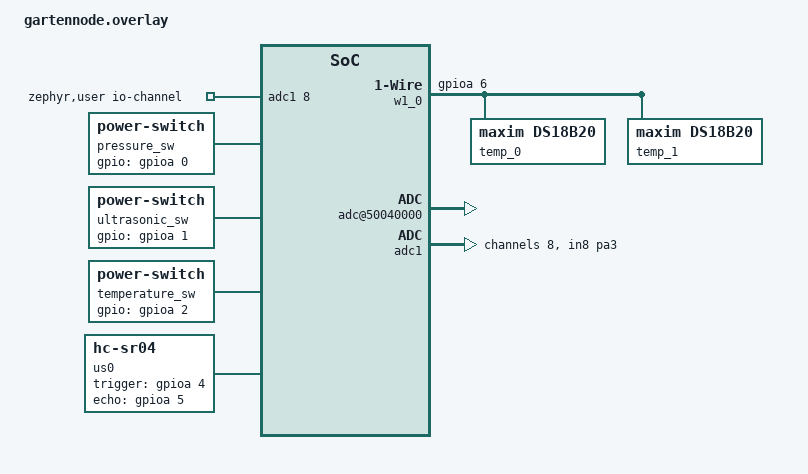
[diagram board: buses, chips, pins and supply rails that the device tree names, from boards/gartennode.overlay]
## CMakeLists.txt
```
cmake_minimum_required(VERSION 3.20.0)

list(APPEND BOARD_ROOT ${CMAKE_CURRENT_SOURCE_DIR})

macro(app_set_runner_args)
  board_runner_args(canopen "--node-id=${CONFIG_CANOPEN_NODE_ID}")
endmacro()

find_package(Zephyr REQUIRED HINTS $ENV{ZEPHYR_BASE})
project(gartennode_zysterne)
FILE(GLOB app_sources src/*.c)
if(NOT CONFIG_BOARD_NATIVE_SIM)
  list(FILTER app_sources EXCLUDE REGEX "/native_sim_ds18b20\\.c$")
endif()
target_sources(app PRIVATE ${app_sources} objdict/CO_OD.c)
zephyr_include_directories(objdict src)
```

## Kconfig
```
#
# Copyright (c) 2019 Vestas Wind Systems A/S
#
# SPDX-License-Identifier: Apache-2.0
#

config CANOPEN_NODE_ID
	int "CANopen node ID"
	default 10
	range 1 127
	help
	  7-bit CANopen Node ID

config CISTERN_UPDATE_DIAGNOSTICS
	bool "Record CANopen update timing and reset causes"
	depends on CANOPENNODE_PROGRAM_DOWNLOAD && SOC_FAMILY_STM32
	select HWINFO
	select LOG_RUNTIME_FILTERING
	help
	  Record download progress and callback latency without changing the
	  flash operation. Suppress missing-sensor logs to preserve diagnostic
	  buffer space. Intended for hardware update regression tests.

# Match the installed Gartennode MCUboot, not Zephyr's newer offset-swap default.
# Defaults (rather than prj.conf assignments) also leave native_sim unaffected.
choice MCUBOOT_BOOTLOADER_MODE
	default MCUBOOT_BOOTLOADER_MODE_SWAP_SCRATCH if BOARD_GARTENNODE && BOOTLOADER_MCUBOOT
endchoice

config MCUBOOT_IMGTOOL_SIGN_VERSION
	default "0.1.0" if BOARD_GARTENNODE && BOOTLOADER_MCUBOOT

config MCUBOOT_EXTRA_IMGTOOL_ARGS
	default "--pad" if BOARD_GARTENNODE && BOOTLOADER_MCUBOOT

source "Kconfig.zephyr"
```

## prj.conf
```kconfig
# Print a banner on the UART on startup.
CONFIG_BOOT_BANNER=y

CONFIG_LOG=y
CONFIG_LOG_BACKEND_UART=y
CONFIG_CANOPENNODE_LOG_LEVEL_DBG=y
CONFIG_MULTITHREADING=y

CONFIG_GPIO=y
CONFIG_ADC=y
CONFIG_SENSOR=y
CONFIG_W1=y
CONFIG_HC_SR04=y

CONFIG_CAN=y
#CONFIG_CAN_MAX_FILTER=13

CONFIG_MAIN_STACK_SIZE=2048

CONFIG_CANOPENNODE=y
CONFIG_CANOPENNODE_SYNC_THREAD=y
CONFIG_CANOPENNODE_STORAGE=y
CONFIG_CANOPENNODE_LEDS=y
CONFIG_CANOPENNODE_PROGRAM_DOWNLOAD=y
CONFIG_CANOPEN_NODE_ID=12

CONFIG_LOG_PRINTK=y
CONFIG_REBOOT=y
CONFIG_UART_CONSOLE=y
CONFIG_SERIAL=y
CONFIG_CONSOLE=y
# Enable Zephyr application to be booted by MCUboot
CONFIG_BOOTLOADER_MCUBOOT=y

# CANopen PROGRAM_CTRL_CLEAR erases the complete secondary slot before download.
# Do not erase sectors again while handling SDO data.
CONFIG_IMG_ERASE_PROGRESSIVELY=n
CONFIG_STREAM_FLASH_ERASE=n

# Use the default MCUBoot PEM key file (BOOT_SIGNATURE_KEY_FILE)
CONFIG_MCUBOOT_SIGNATURE_KEY_FILE="bootloader/mcuboot/gartennode.pem"
```

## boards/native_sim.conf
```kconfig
CONFIG_BOOTLOADER_MCUBOOT=n
CONFIG_CANOPENNODE_PROGRAM_DOWNLOAD=n
CONFIG_MCUBOOT_SIGNATURE_KEY_FILE=""
CONFIG_CAN=y
CONFIG_CAN_NATIVE_UDP=y
# Keep the CANopen loop ahead of the UDP RX worker after a wakeup.
CONFIG_CAN_NATIVE_UDP_RX_THREAD_PRIORITY=1
CONFIG_CANOPENNODE_STORAGE=n
CONFIG_FLASH=n
CONFIG_FLASH_PAGE_LAYOUT=n
CONFIG_FLASH_MAP=n
CONFIG_NVS=n
CONFIG_WATCHDOG=n
CONFIG_HC_SR04=n
CONFIG_ADC=y
CONFIG_ADC_EMUL=y
CONFIG_SENSOR=y
CONFIG_EMUL=y
CONFIG_UART_EMUL=y
CONFIG_CANOPENNODE_SYNC_THREAD=n
```

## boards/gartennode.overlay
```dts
/*
 * Copyright (c) 2022 Google LLC.
 *
 * SPDX-License-Identifier: Apache-2.0
 */

/ {
	zephyr,user {
		io-channels = <&adc1 8>;
	};

	pressure_sw: pressure_sw {
		compatible = "power-switch";
		/* using built-in LED pin for demonstration */
		gpios = <&gpioa 0 (GPIO_PULL_DOWN | GPIO_ACTIVE_HIGH)>;
        status = "okay";
	};

	ultrasonic_sw: ultrasonic_sw {
		compatible = "power-switch";
		/* using built-in LED pin for demonstration */
		gpios = <&gpioa 1 (GPIO_PULL_DOWN | GPIO_ACTIVE_HIGH)>;
        status = "okay";
	};

	temperature_sw: temperature_sw {
		compatible = "power-switch";
		/* using built-in LED pin for demonstration */
		gpios = <&gpioa 2 (GPIO_PULL_DOWN | GPIO_ACTIVE_HIGH)>;
        status = "okay";
	};

	aliases {
		green-led = &green_led;
	};
    us0: HC-SR04 {
        compatible = "hc-sr04";
        trigger-gpios = <&gpioa 4 GPIO_ACTIVE_HIGH>;
        echo-gpios = <&gpioa 5 (GPIO_PULL_DOWN | GPIO_ACTIVE_HIGH)>;
        status = "okay";
    };
	w1_0: w1-zephyr-gpio-0 {
		compatible = "zephyr,w1-gpio";
		gpios = <&gpioa 6 (GPIO_ACTIVE_HIGH|GPIO_OPEN_DRAIN|GPIO_PULL_UP)>;
		status = "okay";

		temp_0: ds18b200 {
			compatible = "maxim,ds18b20";
			family-code = <0x28>;
			resolution = <12>;
			status = "okay";
		};
		temp_1: ds18b201 {
			compatible = "maxim,ds18b20";
			family-code = <0x28>;
			resolution = <12>;
			status = "okay";
		};
	};
};

/*
 * The ADC clock belongs to the common controller in Zephyr 4.5.
 * This path also selects adc1 itself with the flat layout in Zephyr 4.4.
 */
&{/soc/adc@50040000} {
	st,adc-clock-source = "SYNC";
	st,adc-prescaler = <4>;
	status = "okay";
};

&adc1 {
	#address-cells = <1>;
	#size-cells = <0>;

	/* pinctrl-0 = <&adc1_in5_pa0 &adc1_in6_pa1 &adc1_in7_pa2 &adc1_in8_pa3 &adc1_in9_pa4 &adc1_in10_pa5 &adc1_in11_pa6 &adc1_in12_pa7>; */
	pinctrl-0 = <&adc1_in8_pa3>;
	pinctrl-names = "default";
	status = "okay";

	channel@8 {
		reg = <8>;
		zephyr,gain = "ADC_GAIN_1";
		zephyr,reference = "ADC_REF_INTERNAL";
		zephyr,acquisition-time = <ADC_ACQ_TIME_DEFAULT>;
		zephyr,resolution = <12>;
	};
};
```

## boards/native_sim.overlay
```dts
/ {
	chosen {
		zephyr,canbus = &can_udp0;
	};

	zephyr,user {
		io-channels = <&adc0 0>;
	};

	can_udp0: udp-can {
		compatible = "zephyr,native-linux-udp-can";
		host = "127.0.0.1";
		port = <46100>;
		local-port = <46111>;
		status = "okay";
	};

	pressure_sw: pressure-switch {
		compatible = "power-switch";
		gpios = <&gpio0 0 GPIO_ACTIVE_HIGH>;
		status = "okay";
	};
	ultrasonic_sw: ultrasonic-switch {
		compatible = "power-switch";
		gpios = <&gpio0 1 GPIO_ACTIVE_HIGH>;
		status = "okay";
	};
	temperature_sw: temperature-switch {
		compatible = "power-switch";
		gpios = <&gpio0 2 GPIO_ACTIVE_HIGH>;
		status = "okay";
	};

	/* Native-sim DS18B20 devices speak W1 through the UART emulator. */
	us0: simulated-ultrasonic {
		status = "okay";
	};

	uart_emul: uart-emul {
		compatible = "zephyr,uart-emul";
		current-speed = <115200>;
		rx-fifo-size = <128>;
		tx-fifo-size = <128>;
		status = "okay";

		w1_0: w1-bus {
			compatible = "zephyr,w1-serial";
			status = "okay";

			temp_0: ds18b200 {
				compatible = "maxim,ds18b20";
				family-code = <0x28>;
				resolution = <12>;
				status = "okay";
			};
			temp_1: ds18b201 {
				compatible = "maxim,ds18b20";
				family-code = <0x28>;
				resolution = <12>;
				status = "okay";
			};
		};
	};
};

&adc0 {
	ref-internal-mv = <3300>;
	#address-cells = <1>;
	#size-cells = <0>;

	channel@0 {
		reg = <0>;
		zephyr,gain = "ADC_GAIN_1";
		zephyr,reference = "ADC_REF_INTERNAL";
		zephyr,acquisition-time = <ADC_ACQ_TIME_DEFAULT>;
		zephyr,resolution = <12>;
	};
};

&gpio0 {
	status = "okay";
};
```

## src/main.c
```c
/*
 * Copyright (c) 2019 Vestas Wind Systems A/S
 *
 * SPDX-License-Identifier: Apache-2.0
 */

#if defined(CONFIG_BOARD_NATIVE_SIM)
#define _POSIX_C_SOURCE 200809L
#include <time.h>
#endif

#include <zephyr/kernel.h>
#include <zephyr/drivers/can.h>
#include <zephyr/sys/reboot.h>
#include <zephyr/settings/settings.h>
#include <zephyr/storage/flash_map.h>
#include <canopennode.h>
#include <string.h>

#include "led.h"
#include "sensor.h"
#include "update_control.h"
#include "update_diagnostics.h"
#if defined(CONFIG_BOARD_NATIVE_SIM)
#include "native_sim_cistern.h"
#endif

#define LOG_LEVEL CONFIG_CANOPENNODE_LOG_LEVEL
#include <zephyr/logging/log.h>
LOG_MODULE_REGISTER(app);

#define CAN_INTERFACE DEVICE_DT_GET(DT_CHOSEN(zephyr_canbus))
#define CAN_BITRATE (DT_PROP_OR(DT_CHOSEN(zephyr_canbus), bitrate, \
					  DT_PROP_OR(DT_CHOSEN(zephyr_canbus), bus_speed, \
						     CONFIG_CAN_DEFAULT_BITRATE)) / 1000)

#if defined(CONFIG_BOARD_NATIVE_SIM)
K_SEM_DEFINE(native_sim_can_rx_wakeup, 0, 1);

static int64_t native_sim_monotonic_ms(void)
{
	struct timespec now;

	clock_gettime(CLOCK_MONOTONIC, &now);
	return (int64_t)now.tv_sec * 1000 + now.tv_nsec / 1000000;
}

static void native_sim_can_bus_activity(const struct device *dev,
					struct can_frame *frame, void *user_data)
{
	ARG_UNUSED(dev);
	ARG_UNUSED(frame);
	ARG_UNUSED(user_data);
	k_sem_give(&native_sim_can_rx_wakeup);
}
#endif

static void initialize(void)
{
	if (led_init() != 0) {
		LOG_ERR("LED initialization failed");
	}
	if (sensor_init() != 0) {
		LOG_ERR("Sensor initialization failed");
	}
}

static CO_SDO_abortCode_t set_sensor_enable(CO_ODF_arg_t *arg,
					   int (*enable)(uint8_t))
{
	if (arg->reading) {
		return CO_SDO_AB_NONE;
	}
	if (arg->data == NULL) {
		return CO_SDO_AB_GENERAL;
	}
	return enable(*arg->data) == 0 ? CO_SDO_AB_NONE : CO_SDO_AB_GENERAL;
}

static CO_SDO_abortCode_t odf_2102(CO_ODF_arg_t *arg)
{
	return set_sensor_enable(arg, pressure_enable);
}

static CO_SDO_abortCode_t odf_2110(CO_ODF_arg_t *arg)
{
	return set_sensor_enable(arg, ultrasonic_enable);
}

static CO_SDO_abortCode_t odf_2115(CO_ODF_arg_t *arg)
{
	return set_sensor_enable(arg, temperature_enable);
}

/**
 * @brief Initialize CANopen and perform non-real-time application processing.
 */
int main(void)
{
	CO_NMT_reset_cmd_t reset = CO_RESET_NOT;
	CO_ReturnError_t err;
	struct canopen_context can;
	uint16_t timeout;
	uint32_t elapsed;
	int64_t timestamp;
#ifdef CONFIG_CANOPENNODE_STORAGE
	int ret;
#endif

	can.dev = CAN_INTERFACE;
	if (!device_is_ready(can.dev)) {
		LOG_ERR("CAN interface not ready");
		return 0;
	}
#if defined(CONFIG_BOARD_NATIVE_SIM)
	native_sim_cistern_start();
#endif

#ifdef CONFIG_CANOPENNODE_STORAGE
	LOG_INF("Initializing settings subsystem");
	ret = settings_subsys_init();
	if (ret) {
		const struct flash_area *storage = NULL;
		int error;

		LOG_ERR("failed to initialize settings subsystem (err = %d)", ret);
		error = flash_area_open(PARTITION_ID(storage_partition), &storage);
		if (error < 0) {
			return error;
		}
		error = flash_area_erase(storage, 0, PARTITION_SIZE(storage_partition));
		flash_area_close(storage);
		if (error < 0) {
			return error;
		}
		sys_reboot(SYS_REBOOT_COLD);
	}
	ret = settings_load();
	if (ret) {
		LOG_ERR("failed to load settings (err = %d)", ret);
		return 0;
	}
#endif

	OD_powerOnCounter++;

	while (reset != CO_RESET_APP) {
		elapsed = 0U;

		LOG_INF("CANopen stack initialize");
		err = CO_init(&can, CONFIG_CANOPEN_NODE_ID, CAN_BITRATE);
		if (err != CO_ERROR_NO) {
			LOG_ERR("CO_init failed (err = %d)", err);
			return 0;
		}
		LOG_INF("CANopen stack initialized");
#ifdef CONFIG_CANOPENNODE_STORAGE
		canopen_storage_attach(CO->SDO[0], CO->em);
#endif

		initialize();
		led_configure(CO->NMT);
		CO_OD_configure(CO->SDO[0], OD_2102_pressureEnable,
				odf_2102, NULL, 0U, 0U);
		CO_OD_configure(CO->SDO[0], OD_2110_ultrasonicEnable,
				odf_2110, NULL, 0U, 0U);
		CO_OD_configure(CO->SDO[0], OD_2115_temperatureEnable,
				odf_2115, NULL, 0U, 0U);

		if (IS_ENABLED(CONFIG_CANOPENNODE_PROGRAM_DOWNLOAD)) {
			canopen_program_download_attach(CO->NMT, CO->SDO[0], CO->em);
			cistern_update_control_attach(CO->SDO[0]);
#if defined(CONFIG_CISTERN_UPDATE_DIAGNOSTICS)
			cistern_update_diagnostics_attach(CO->SDO[0]);
#endif
		}

#if defined(CONFIG_BOARD_NATIVE_SIM)
		/* Exercise pressure acquisition and TPDOs with the ADC emulator. */
		OD_pressureEnable = 1U;
#endif
		pressure_enable(OD_pressureEnable);
		ultrasonic_enable(OD_ultrasonicEnable);
		temperature_enable(OD_temperatureEnable);
		LOG_INF("Sensor acquisition tasks enabled (pressure=%u, ultrasonic=%u, temperature=%u)",
			OD_pressureEnable, OD_ultrasonicEnable, OD_temperatureEnable);

#if defined(CONFIG_BOARD_NATIVE_SIM)
		const struct can_filter native_sim_wakeup_filter = {
			.id = 0U,
			.mask = 0U,
		};
		int native_sim_wakeup_filter_id =
			can_add_rx_filter(can.dev, native_sim_can_bus_activity, NULL,
					  &native_sim_wakeup_filter);

		if (native_sim_wakeup_filter_id < 0) {
			LOG_ERR("Failed to add native-sim CAN activity filter: %d",
				native_sim_wakeup_filter_id);
		}
#endif
		CO_CANsetNormalMode(CO->CANmodule[0]);
		LOG_INF("CAN interface entered normal mode");
#ifdef CONFIG_CANOPENNODE_STORAGE
		struct sCO_OD_EEPROM eeprom_old = CO_OD_EEPROM;
#endif

		while (true) {
			timeout = 1U;
#if defined(CONFIG_BOARD_NATIVE_SIM)
			timestamp = native_sim_monotonic_ms();
#else
			timestamp = k_uptime_get();
#endif
			reset = CO_process(CO, (uint16_t)elapsed, &timeout);
			if (reset != CO_RESET_NOT) {
				break;
			}
#if defined(CONFIG_BOARD_NATIVE_SIM)
			/*
			 * Process asynchronous PDOs here: native_sim does not reliably
			 * run the CANopenNode timer-driven sync worker.
			 */
			native_sim_cistern_process();
#endif
			sensor_process();
#if defined(CONFIG_BOARD_NATIVE_SIM)
			CO_LOCK_OD();
			CO_process_RPDO(CO, false);
			CO_process_TPDO(CO, false, elapsed * 1000U);
			CO_UNLOCK_OD();
#endif

			if (timeout > 0) {
#ifdef CONFIG_CANOPENNODE_STORAGE
				ret = memcmp(&eeprom_old, &CO_OD_EEPROM, sizeof(CO_OD_EEPROM));
				if (ret != 0) {
					LOG_DBG("EEPROM changed, saving to flash");
					memcpy(&eeprom_old, &CO_OD_EEPROM, sizeof(CO_OD_EEPROM));
					ret = canopen_storage_save(CANOPEN_STORAGE_EEPROM);
					if (ret) {
						LOG_ERR("failed to save EEPROM");
					}
				}
#endif
				/* Sleep for the requested timeout and measure elapsed time. */
#if defined(CONFIG_BOARD_NATIVE_SIM)
				/* Keep stack time advancing despite coarse native clock ticks. */
				uint32_t wait_ms = MAX(timeout, 10U);

				(void)k_sem_take(&native_sim_can_rx_wakeup, K_MSEC(wait_ms));
				elapsed = (uint32_t)(native_sim_monotonic_ms() - timestamp);
				if (elapsed == 0U) {
					elapsed = 1U;
				}
#else
				k_sleep(K_MSEC(timeout));
				elapsed = (uint32_t)k_uptime_delta(&timestamp);
#endif
			} else {
				elapsed = 0U;
#if defined(CONFIG_BOARD_NATIVE_SIM)
				/* Let native UDP-CAN RX and virtual sensor tasks run. */
				k_sleep(K_MSEC(1));
				elapsed = (uint32_t)(native_sim_monotonic_ms() - timestamp);
				if (elapsed == 0U) {
					elapsed = 1U;
				}
#endif
			}
		}

		sensor_stop();
#if defined(CONFIG_BOARD_NATIVE_SIM)
		if (native_sim_wakeup_filter_id >= 0) {
			can_remove_rx_filter(can.dev, native_sim_wakeup_filter_id);
		}
#endif
		if (reset == CO_RESET_COMM) {
			LOG_INF("Resetting communication");
		}
	}

	LOG_INF("Resetting device");
	CO_delete(&can);
	sys_reboot(SYS_REBOOT_COLD);
}
```

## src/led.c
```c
#include <zephyr/drivers/gpio.h>
#include <zephyr/logging/log.h>

#include "led.h"

LOG_MODULE_REGISTER(led, CONFIG_CANOPENNODE_LOG_LEVEL);

static struct gpio_dt_spec led_green_gpio =
	GPIO_DT_SPEC_GET_OR(DT_ALIAS(green_led), gpios, {0});
static struct gpio_dt_spec led_red_gpio =
	GPIO_DT_SPEC_GET_OR(DT_ALIAS(red_led), gpios, {0});

static void led_callback(bool value, void *arg)
{
	struct gpio_dt_spec *gpio = arg;

	if (gpio != NULL && gpio->port != NULL) {
		gpio_pin_set_dt(gpio, value);
	}
}

int led_init(void)
{
	struct gpio_dt_spec *leds[] = {&led_green_gpio, &led_red_gpio};

	for (size_t i = 0; i < ARRAY_SIZE(leds); i++) {
		struct gpio_dt_spec *gpio = leds[i];

		if (gpio->port == NULL) {
			continue;
		}
		if (!gpio_is_ready_dt(gpio)) {
			LOG_ERR("LED GPIO device not ready");
			gpio->port = NULL;
			continue;
		}
		int ret = gpio_pin_configure_dt(gpio, GPIO_OUTPUT_INACTIVE);

		if (ret != 0) {
			LOG_ERR("Failed to configure LED GPIO: %d", ret);
			gpio->port = NULL;
		}
	}
	return 0;
}

void led_configure(CO_NMT_t *nmt)
{
	canopen_leds_init(nmt, led_callback, &led_green_gpio,
			 led_callback, &led_red_gpio);
}
```

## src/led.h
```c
#ifndef LED_H
#define LED_H

#include <canopennode.h>

int led_init(void);
void led_configure(CO_NMT_t *nmt);

#endif /* LED_H */
```

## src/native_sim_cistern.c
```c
#include "native_sim_cistern.h"

#if defined(CONFIG_BOARD_NATIVE_SIM)
#include <errno.h>
#include <math.h>
#include <stdlib.h>
#include <string.h>

#include <zephyr/devicetree.h>
#include <zephyr/drivers/adc.h>
#include <zephyr/drivers/adc/adc_emul.h>
#include <zephyr/drivers/sensor.h>
#include <zephyr/drivers/w1.h>
#include <zephyr/kernel.h>
#include <zephyr/logging/log.h>
#include <zephyr/sys/util.h>
#include <canopennode.h>
#include "native_sim_ds18b20.h"

#include <arpa/inet.h>
#include <netinet/in.h>
#include <sys/socket.h>
#include <unistd.h>

LOG_MODULE_REGISTER(native_sim_cistern, LOG_LEVEL_INF);

#define INPUT_PORT 46005
#define INPUT_PACKET_SIZE 96
#define ADC_MAX_RAW 4095

static const struct adc_dt_spec pressure_adc =
	ADC_DT_SPEC_GET_BY_IDX(DT_PATH(zephyr_user), 0);
struct cistern_inputs {
	double level_mm;
	uint32_t pressure_adc_raw;
	double ultrasonic_height;
	double water_temperature;
	double air_temperature;
	uint64_t water_temperature_rom_id;
	uint64_t air_temperature_rom_id;
};

static struct cistern_inputs inputs = {
	.level_mm = 800.0,
	.pressure_adc_raw = 1065,
	.ultrasonic_height = 2600.0,
	.water_temperature = 18.0,
	.air_temperature = 20.0,
	.water_temperature_rom_id = UINT64_C(0x2801000000000029),
	.air_temperature_rom_id = UINT64_C(0x2802000000000070),
};
static int input_fd = -1;
K_MUTEX_DEFINE(inputs_mutex);

struct simulated_sensor_config {
	enum sensor_channel channel;
};

struct simulated_sensor_data {
	struct sensor_value value;
};

static int32_t simulated_distance_mm;
K_MUTEX_DEFINE(simulated_values_mutex);

static int simulated_sensor_fetch(const struct device *dev, enum sensor_channel channel)
{
	const struct simulated_sensor_config *cfg = dev->config;
	struct simulated_sensor_data *data = dev->data;
	int64_t micro;

	if (channel != SENSOR_CHAN_ALL && channel != cfg->channel) {
		return -ENOTSUP;
	}
	k_mutex_lock(&simulated_values_mutex, K_FOREVER);
	micro = (int64_t)simulated_distance_mm * 1000;
	k_mutex_unlock(&simulated_values_mutex);
	return sensor_value_from_micro(&data->value, micro);
}

static int simulated_sensor_channel_get(const struct device *dev,
					enum sensor_channel channel, struct sensor_value *value)
{
	const struct simulated_sensor_config *cfg = dev->config;
	struct simulated_sensor_data *data = dev->data;

	if (channel != cfg->channel) {
		return -ENOTSUP;
	}
	*value = data->value;
	return 0;
}

static DEVICE_API(sensor, simulated_sensor_api) = {
	.sample_fetch = simulated_sensor_fetch,
	.channel_get = simulated_sensor_channel_get,
};

#define DEFINE_SIMULATED_SENSOR(name, node_id, channel_id) \
	static struct simulated_sensor_data data_##name; \
	static const struct simulated_sensor_config cfg_##name = { \
		.channel = channel_id \
	}; \
	SENSOR_DEVICE_DT_DEFINE(node_id, NULL, NULL, &data_##name, &cfg_##name, \
				POST_KERNEL, CONFIG_SENSOR_INIT_PRIORITY, &simulated_sensor_api)

DEFINE_SIMULATED_SENSOR(ultrasonic, DT_NODELABEL(us0), SENSOR_CHAN_DISTANCE);

static void update_emulators(const struct cistern_inputs *state)
{
	double level = CLAMP(state->level_mm, 0.0, 2500.0);
	uint32_t distance_mm = (uint32_t)MAX(0.0, state->ultrasonic_height - level);
	(void)adc_emul_const_raw_value_set(pressure_adc.dev, pressure_adc.channel_id,
					   state->pressure_adc_raw);
	k_mutex_lock(&simulated_values_mutex, K_FOREVER);
	simulated_distance_mm = (int32_t)distance_mm;
	k_mutex_unlock(&simulated_values_mutex);
	native_sim_ds18b20_set_temperature(0, state->water_temperature);
	native_sim_ds18b20_set_temperature(1, state->air_temperature);
}

static void set_rom_input(const char *key, uint64_t rom_id)
{
	struct cistern_inputs snapshot;
	size_t index;

	k_mutex_lock(&inputs_mutex, K_FOREVER);
	if (strcmp(key, "water_temperature_rom_id") == 0) {
		inputs.water_temperature_rom_id = rom_id;
		index = 0;
	} else if (strcmp(key, "air_temperature_rom_id") == 0) {
		inputs.air_temperature_rom_id = rom_id;
		index = 1;
	} else {
		k_mutex_unlock(&inputs_mutex);
		return;
	}
	snapshot = inputs;
	k_mutex_unlock(&inputs_mutex);

	if (native_sim_ds18b20_set_roms(snapshot.water_temperature_rom_id,
					snapshot.air_temperature_rom_id) == 0) {
		LOG_INF("Changed emulated DS18B20 hardware ROM in slot %u to 0x%016llx",
			(unsigned int)index, (unsigned long long)rom_id);
	}
}

static bool valid_ds18b20_rom_id(uint64_t rom_id)
{
	struct w1_rom rom;

	w1_uint64_to_rom(rom_id, &rom);
	return rom.family == 0x28 &&
		rom.crc == w1_crc8((const uint8_t *)&rom, 7);
}

static void set_input(const char *key, double value)
{
	struct cistern_inputs snapshot;

	if (!isfinite(value)) {
		return;
	}
	k_mutex_lock(&inputs_mutex, K_FOREVER);
	if (strcmp(key, "level_mm") == 0) {
		inputs.level_mm = value;
	} else if (strcmp(key, "pressure_adc_raw") == 0) {
		inputs.pressure_adc_raw = (uint32_t)CLAMP(lround(value), 0, ADC_MAX_RAW);
	} else if (strcmp(key, "ultrasonic_height") == 0) {
		inputs.ultrasonic_height = value;
	} else if (strcmp(key, "water_temperature") == 0) {
		inputs.water_temperature = value;
	} else if (strcmp(key, "air_temperature") == 0) {
		inputs.air_temperature = value;
	} else {
		k_mutex_unlock(&inputs_mutex);
		return;
	}
	snapshot = inputs;
	k_mutex_unlock(&inputs_mutex);
	update_emulators(&snapshot);
}

void native_sim_cistern_process(void)
{
	char packet[INPUT_PACKET_SIZE];
	for (;;) {
		ssize_t length = recvfrom(input_fd, packet, sizeof(packet) - 1,
					  MSG_DONTWAIT, NULL, NULL);

		if (length < 0 && (errno == EAGAIN || errno == EWOULDBLOCK)) {
			return;
		}
		if (length <= 0) {
			return;
		}
		packet[length] = '\0';
		char *separator = strchr(packet, '=');
		if (separator == NULL) {
			continue;
		}
		*separator++ = '\0';
		if (strcmp(packet, "water_temperature_rom_id") == 0 ||
		    strcmp(packet, "air_temperature_rom_id") == 0) {
			char *rom_end = NULL;
			unsigned long long rom_id;

			if (strlen(separator) != 16) {
				continue;
			}
			rom_id = strtoull(separator, &rom_end, 16);
			if (rom_end != separator && *rom_end == '\0' &&
			    valid_ds18b20_rom_id((uint64_t)rom_id)) {
				set_rom_input(packet, (uint64_t)rom_id);
			}
			continue;
		}
		char *end = NULL;
		double value = strtod(separator, &end);
		if (end != separator && (*end == '\0' || *end == '\n')) {
			set_input(packet, value);
			LOG_INF("Applied virtual sensor input %s", packet);
		}
	}
}

void native_sim_cistern_start(void)
{
	if (!adc_is_ready_dt(&pressure_adc)) {
		LOG_ERR("Pressure ADC emulator is not ready");
		return;
	}
	if (native_sim_ds18b20_init() != 0) {
		LOG_ERR("Could not initialize virtual DS18B20 W1 devices");
		return;
	}
	update_emulators(&inputs);
	input_fd = socket(AF_INET, SOCK_DGRAM, IPPROTO_UDP);
	if (input_fd < 0) {
		LOG_ERR("Could not create virtual sensor input socket: %d", errno);
		return;
	}
	struct sockaddr_in address = {
		.sin_family = AF_INET,
		.sin_port = htons(INPUT_PORT),
		.sin_addr.s_addr = htonl(INADDR_ANY),
	};
	if (bind(input_fd, (struct sockaddr *)&address, sizeof(address)) < 0) {
		LOG_ERR("Could not bind virtual sensor input socket: %d", errno);
		close(input_fd);
		input_fd = -1;
		return;
	}
	LOG_INF("Virtual sensor input listening on UDP %d", INPUT_PORT);
}
#endif
```

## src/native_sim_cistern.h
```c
#ifndef NATIVE_SIM_CISTERN_H
#define NATIVE_SIM_CISTERN_H

#include <stdint.h>

#if defined(CONFIG_BOARD_NATIVE_SIM)
void native_sim_cistern_start(void);
void native_sim_cistern_process(void);
#endif

#endif
```

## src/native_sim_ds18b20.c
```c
#include "native_sim_ds18b20.h"

#include <errno.h>

#include <zephyr/sys/util.h>

#if defined(CONFIG_BOARD_NATIVE_SIM)
#include <math.h>
#include <string.h>

#include <zephyr/device.h>
#include <zephyr/drivers/serial/uart_emul.h>
#include <zephyr/drivers/uart.h>
#include <zephyr/drivers/w1.h>
#include <zephyr/kernel.h>
#include <zephyr/logging/log.h>
#include <zephyr/sys/atomic.h>

LOG_MODULE_REGISTER(native_sim_ds18b20, LOG_LEVEL_INF);

#define SENSOR_COUNT 2
#define ROM_BYTES 8
#define SCRATCHPAD_BYTES 9
#define ROM_SEARCH 0xF0
#define MATCH_ROM 0x55
#define SKIP_ROM 0xCC
#define READ_ROM 0x33
#define CONVERT_T 0x44
#define READ_SCRATCHPAD 0xBE
#define WRITE_SCRATCHPAD 0x4E
#define READ_POWER 0xB4

enum bus_phase {
	PHASE_ROM_COMMAND,
	PHASE_SEARCH,
	PHASE_MATCH_ROM,
	PHASE_FUNCTION_COMMAND,
	PHASE_WRITE_SCRATCHPAD,
	PHASE_READ_ROM,
	PHASE_READ_SCRATCHPAD,
	PHASE_READ_POWER,
};

struct bus_state {
	enum bus_phase phase;
	uint8_t input_byte;
	uint8_t input_bit;
	uint8_t match_rom[ROM_BYTES];
	uint8_t match_index;
	uint8_t search_bit;
	uint8_t search_slot;
	uint8_t read_index;
	uint8_t read_bit;
	uint8_t active_mask;
	uint8_t selected_mask;
	uint8_t scratchpad[SENSOR_COUNT][SCRATCHPAD_BYTES];
	uint8_t rom[SENSOR_COUNT][ROM_BYTES];
};

static struct bus_state bus = {
	.rom = {
		{ 0x28, 0x01, 0, 0, 0, 0, 0, 0x29 },
		{ 0x28, 0x02, 0, 0, 0, 0, 0, 0x70 },
	},
};
static atomic_t temperatures_q4[SENSOR_COUNT] = {
	ATOMIC_INIT(18 * 16),
	ATOMIC_INIT(20 * 16),
};
static const struct device *const uart_dev = DEVICE_DT_GET(DT_NODELABEL(uart_emul));
static const struct device *const w1_dev = DEVICE_DT_GET(DT_NODELABEL(w1_0));
static K_MUTEX_DEFINE(model_mutex);

static void model_reset(void)
{
	bus.phase = PHASE_ROM_COMMAND;
	bus.input_byte = 0;
	bus.input_bit = 0;
	bus.match_index = 0;
	bus.search_bit = 0;
	bus.search_slot = 0;
	bus.read_index = 0;
	bus.read_bit = 0;
	bus.active_mask = BIT(0) | BIT(1);
	bus.selected_mask = BIT(0) | BIT(1);
}

static void prepare_scratchpad(size_t index)
{
	int16_t raw = (int16_t)atomic_get(&temperatures_q4[index]);
	uint8_t *sp = bus.scratchpad[index];

	sp[0] = (uint8_t)raw;
	sp[1] = (uint8_t)((uint16_t)raw >> 8);
	sp[2] = 75;
	sp[3] = 70;
	sp[4] = 0x7F;
	sp[5] = 0xFF;
	sp[6] = 0x0C;
	sp[7] = 0x10;
	sp[8] = w1_crc8(sp, 8);
}

static void received_byte(uint8_t byte)
{
	switch (bus.phase) {
	case PHASE_ROM_COMMAND:
		switch (byte) {
		case ROM_SEARCH:
			bus.phase = PHASE_SEARCH;
			bus.active_mask = BIT(0) | BIT(1);
			bus.search_bit = 0;
			bus.search_slot = 0;
			break;
		case MATCH_ROM:
			bus.phase = PHASE_MATCH_ROM;
			bus.match_index = 0;
			memset(bus.match_rom, 0, sizeof(bus.match_rom));
			break;
		case SKIP_ROM:
			bus.selected_mask = BIT(0) | BIT(1);
			bus.phase = PHASE_FUNCTION_COMMAND;
			break;
		case READ_ROM:
			bus.phase = PHASE_READ_ROM;
			bus.selected_mask = bus.active_mask;
			bus.read_index = 0;
			bus.read_bit = 0;
			break;
		default:
			bus.selected_mask = 0;
			break;
		}
		break;
	case PHASE_MATCH_ROM:
		bus.match_rom[bus.match_index++] = byte;
		if (bus.match_index == ROM_BYTES) {
			bus.selected_mask = 0;
			for (size_t i = 0; i < SENSOR_COUNT; i++) {
				if (memcmp(bus.match_rom, bus.rom[i], ROM_BYTES) == 0) {
					bus.selected_mask |= BIT(i);
				}
			}
			bus.phase = bus.selected_mask ? PHASE_FUNCTION_COMMAND : PHASE_ROM_COMMAND;
		}
		break;
	case PHASE_FUNCTION_COMMAND:
		switch (byte) {
		case CONVERT_T:
			/* Virtual conversion completes immediately. */
			bus.phase = PHASE_ROM_COMMAND;
			break;
		case READ_SCRATCHPAD:
			for (size_t i = 0; i < SENSOR_COUNT; i++) {
				if (bus.selected_mask & BIT(i)) {
					prepare_scratchpad(i);
				}
			}
			bus.phase = PHASE_READ_SCRATCHPAD;
			bus.read_index = 0;
			bus.read_bit = 0;
			break;
		case WRITE_SCRATCHPAD:
			bus.phase = PHASE_WRITE_SCRATCHPAD;
			bus.match_index = 0;
			break;
		case READ_POWER:
			bus.phase = PHASE_READ_POWER;
			bus.read_index = 0;
			bus.read_bit = 0;
			break;
		default:
			bus.phase = PHASE_ROM_COMMAND;
			break;
		}
		break;
	case PHASE_WRITE_SCRATCHPAD:
		for (size_t i = 0; i < SENSOR_COUNT; i++) {
			if (bus.selected_mask & BIT(i)) {
				bus.scratchpad[i][2 + bus.match_index] = byte;
			}
		}
		if (++bus.match_index == 3) {
			bus.phase = PHASE_FUNCTION_COMMAND;
			bus.match_index = 0;
		}
		break;
	default:
		break;
	}
}

static uint8_t search_bit_value(bool complement)
{
	bool wired_and = true;
	bool participating = false;

	for (size_t i = 0; i < SENSOR_COUNT; i++) {
		if (!(bus.active_mask & BIT(i))) {
			continue;
		}
		participating = true;
		bool bit = (bus.rom[i][bus.search_bit / 8] >>
			    (bus.search_bit % 8)) & 1;
		wired_and &= complement ? !bit : bit;
	}
	return participating && wired_and ? 0xFF : 0x00;
}

static uint8_t read_slot(void)
{
	uint8_t result = 0xFF;

	if (bus.phase == PHASE_SEARCH) {
		result = search_bit_value(bus.search_slot == 1);
		bus.search_slot++;
		return result;
	}

	if (bus.phase == PHASE_READ_POWER) {
		if (++bus.read_bit == 8) {
			bus.read_bit = 0;
			bus.phase = PHASE_FUNCTION_COMMAND;
		}
		return 0xFF; /* Both simulated sensors use external power. */
	}

	for (size_t i = 0; i < SENSOR_COUNT; i++) {
		uint8_t value;

		if (!(bus.selected_mask & BIT(i))) {
			continue;
		}
		value = bus.phase == PHASE_READ_ROM
			? bus.rom[i][bus.read_index]
			: bus.scratchpad[i][bus.read_index];
		result &= ((value >> bus.read_bit) & 1) ? 0xFF : 0x00;
	}
	if (++bus.read_bit == 8) {
		bus.read_bit = 0;
		bus.read_index++;
		if ((bus.phase == PHASE_READ_ROM && bus.read_index == ROM_BYTES) ||
		    (bus.phase == PHASE_READ_SCRATCHPAD &&
		     bus.read_index == SCRATCHPAD_BYTES)) {
			bus.phase = bus.phase == PHASE_READ_ROM
				? PHASE_ROM_COMMAND : PHASE_FUNCTION_COMMAND;
		}
	}
	return result;
}

static uint8_t exchange_slot(uint8_t tx, uint32_t baudrate)
{
	bool released = tx == 0xFF;

	if (baudrate == 9600 && tx == 0xF0) {
		model_reset();
		return 0xE0;
	}
	if (bus.phase == PHASE_SEARCH) {
		if (bus.search_slot == 2) {
			for (size_t i = 0; i < SENSOR_COUNT; i++) {
				bool bit;

				if (!(bus.active_mask & BIT(i))) {
					continue;
				}
				bit = (bus.rom[i][bus.search_bit / 8] >>
				       (bus.search_bit % 8)) & 1;
				if (bit != released) {
					bus.active_mask &= (uint8_t)~BIT(i);
				}
			}
			bus.search_slot = 0;
			if (++bus.search_bit == 64) {
				bus.selected_mask = bus.active_mask;
				bus.phase = bus.active_mask
					? PHASE_FUNCTION_COMMAND : PHASE_ROM_COMMAND;
			}
			return released ? 0xFF : 0x00;
		}
		return read_slot();
	}
	if (bus.phase == PHASE_READ_ROM || bus.phase == PHASE_READ_SCRATCHPAD ||
	    bus.phase == PHASE_READ_POWER) {
		return read_slot();
	}
	if (released) {
		bus.input_byte |= BIT(bus.input_bit);
	}
	if (++bus.input_bit == 8) {
		uint8_t byte = bus.input_byte;

		bus.input_byte = 0;
		bus.input_bit = 0;
		received_byte(byte);
	}
	return 0xFF;
}

static void uart_tx_ready(const struct device *dev, size_t size, void *user_data)
{
	uint8_t tx[128];
	uint8_t rx[128];
	struct uart_config config;
	uint32_t count;

	ARG_UNUSED(user_data);
	if (uart_config_get(dev, &config) != 0) {
		return;
	}
	count = uart_emul_get_tx_data(dev, tx, MIN(size, sizeof(tx)));
	k_mutex_lock(&model_mutex, K_FOREVER);
	for (uint32_t i = 0; i < count; i++) {
		rx[i] = exchange_slot(tx[i], config.baudrate);
	}
	k_mutex_unlock(&model_mutex);
	(void)uart_emul_put_rx_data(dev, rx, count);
}

static void count_ds18b20(struct w1_rom rom, void *user_data)
{
	size_t *count = user_data;

	if (rom.family == 0x28 && rom.crc == w1_crc8((const uint8_t *)&rom, 7)) {
		(*count)++;
	}
}

int native_sim_ds18b20_init(void)
{
	size_t found_count = 0;

	if (!device_is_ready(uart_dev) || !device_is_ready(w1_dev)) {
		return -ENODEV;
	}
	model_reset();
	uart_emul_callback_tx_data_ready_set(uart_dev, uart_tx_ready, NULL);
	int found = w1_search_rom(w1_dev, count_ds18b20, &found_count);

	if (found != SENSOR_COUNT || found_count != SENSOR_COUNT) {
		LOG_ERR("Virtual W1 search returned %d devices (%u valid DS18B20s)",
			found, (unsigned int)found_count);
		return -EIO;
	}
	for (size_t i = 0; i < SENSOR_COUNT; i++) {
		struct w1_slave_config peripheral = {0};
		uint8_t scratchpad[SCRATCHPAD_BYTES];
		int16_t expected = (int16_t)atomic_get(&temperatures_q4[i]);

		memcpy(&peripheral.rom, bus.rom[i], ROM_BYTES);
		if (w1_reset_select(w1_dev, &peripheral) != 0 ||
		    w1_write_byte(w1_dev, WRITE_SCRATCHPAD) != 0 ||
		    w1_write_byte(w1_dev, 75) != 0 ||
		    w1_write_byte(w1_dev, 70) != 0 ||
		    w1_write_byte(w1_dev, 0x7F) != 0 ||
		    w1_reset_select(w1_dev, &peripheral) != 0 ||
		    w1_write_byte(w1_dev, CONVERT_T) != 0 ||
		    w1_reset_select(w1_dev, &peripheral) != 0 ||
		    w1_write_byte(w1_dev, READ_SCRATCHPAD) != 0 ||
		    w1_read_block(w1_dev, scratchpad, sizeof(scratchpad)) != 0 ||
		    scratchpad[8] != w1_crc8(scratchpad, 8) ||
		    (int16_t)((uint16_t)scratchpad[1] << 8 | scratchpad[0]) != expected) {
			LOG_ERR("Virtual DS18B20 %u scratchpad/protocol validation failed",
				(unsigned int)i);
			return -EIO;
		}
	}
	LOG_INF("Two virtual DS18B20 devices respond on W1");
	return 0;
}

int native_sim_ds18b20_set_roms(uint64_t water_rom, uint64_t air_rom)
{
	struct w1_rom roms[SENSOR_COUNT];
	uint64_t values[SENSOR_COUNT] = { water_rom, air_rom };

	for (size_t i = 0; i < SENSOR_COUNT; i++) {
		w1_uint64_to_rom(values[i], &roms[i]);
		if (roms[i].family != 0x28 ||
		    roms[i].crc != w1_crc8((const uint8_t *)&roms[i], 7)) {
			return -EINVAL;
		}
	}
	if (water_rom == air_rom || w1_lock_bus(w1_dev) != 0) {
		return -EINVAL;
	}
	k_mutex_lock(&model_mutex, K_FOREVER);
	memcpy(bus.rom[0], &roms[0], ROM_BYTES);
	memcpy(bus.rom[1], &roms[1], ROM_BYTES);
	model_reset();
	k_mutex_unlock(&model_mutex);
	(void)w1_unlock_bus(w1_dev);
	return 0;
}

void native_sim_ds18b20_set_temperature(size_t index, double temperature_c)
{
	if (index >= SENSOR_COUNT || !isfinite(temperature_c)) {
		return;
	}
	temperature_c = CLAMP(temperature_c, -55.0, 125.0);
	atomic_set(&temperatures_q4[index], (atomic_val_t)lround(temperature_c * 16.0));
}

#else
int native_sim_ds18b20_init(void)
{
	return -ENOTSUP;
}

void native_sim_ds18b20_set_temperature(size_t index, double temperature_c)
{
	ARG_UNUSED(index);
	ARG_UNUSED(temperature_c);
}

int native_sim_ds18b20_set_roms(uint64_t water_rom, uint64_t air_rom)
{
	ARG_UNUSED(water_rom);
	ARG_UNUSED(air_rom);
	return -ENOTSUP;
}

#endif
```

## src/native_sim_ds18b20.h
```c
#ifndef CISTERN_NATIVE_SIM_DS18B20_H_
#define CISTERN_NATIVE_SIM_DS18B20_H_

#include <stddef.h>
#include <stdint.h>

int native_sim_ds18b20_init(void);
void native_sim_ds18b20_set_temperature(size_t index, double temperature_c);
int native_sim_ds18b20_set_roms(uint64_t water_rom, uint64_t air_rom);

#endif
```

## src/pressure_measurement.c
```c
#include <stdint.h>

#include <zephyr/drivers/adc.h>
#include <zephyr/logging/log.h>
#include <zephyr/sys/util.h>
#include <canopennode.h>

#include "pressure_measurement.h"

LOG_MODULE_REGISTER(pressure_measurement, CONFIG_CANOPENNODE_LOG_LEVEL);

#define DT_SPEC_AND_COMMA(node_id, prop, idx) ADC_DT_SPEC_GET_BY_IDX(node_id, idx),
#define ADC_REFERENCE_MV 3300U
#define ADC_COUNTS_PER_FULL_SCALE 4096U

static const struct adc_dt_spec adc_channels[] = {
	DT_FOREACH_PROP_ELEM(DT_PATH(zephyr_user), io_channels, DT_SPEC_AND_COMMA)
};

int pressure_measurement_init(void)
{
	if (!adc_is_ready_dt(&adc_channels[0])) {
		LOG_ERR("Pressure ADC controller not ready");
		return -ENODEV;
	}
	return adc_channel_setup_dt(&adc_channels[0]);
}

int pressure_measurement_read(void)
{
	uint16_t raw;
	struct adc_sequence sequence = {
		.buffer = &raw,
		.buffer_size = sizeof(raw),
	};
	int ret = adc_sequence_init_dt(&adc_channels[0], &sequence);

	if (ret == 0) {
		ret = adc_read_dt(&adc_channels[0], &sequence);
	}
	if (ret < 0) {
		LOG_ERR("Could not read pressure ADC: %d", ret);
		return ret;
	}

	CO_LOCK_OD();
	OD_pressureMeasurement = raw;
	if (raw == 0U || OD_pressureSpanMv <= OD_pressureZeroMv ||
	    OD_pressureMeasurementRangeMm == 0U) {
		OD_pressureDistanceMm = UINT32_MAX;
	} else {
		uint32_t voltage_mv = (uint32_t)raw * ADC_REFERENCE_MV /
				      ADC_COUNTS_PER_FULL_SCALE;
		uint32_t zero_mv = OD_pressureZeroMv;
		uint32_t span_mv = OD_pressureSpanMv;
		uint32_t measured_mv = voltage_mv > zero_mv ? voltage_mv - zero_mv : 0U;
		uint32_t calibration_span_mv = span_mv - zero_mv;
		if (measured_mv > calibration_span_mv) {
			measured_mv = calibration_span_mv;
		}
		uint64_t pressure_depth_mm = (uint64_t)measured_mv *
					     OD_pressureMeasurementRangeMm /
					     calibration_span_mv;
		uint64_t water_level_mm = (uint64_t)OD_pressureOffsetMm +
					  pressure_depth_mm;

		OD_pressureDistanceMm = (uint32_t)MIN(water_level_mm, UINT32_MAX);
	}
	CO_UNLOCK_OD();
	return 0;
}
```

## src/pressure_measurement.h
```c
#ifndef PRESSURE_MEASUREMENT_H
#define PRESSURE_MEASUREMENT_H

int pressure_measurement_init(void);
int pressure_measurement_read(void);

#endif /* PRESSURE_MEASUREMENT_H */
```

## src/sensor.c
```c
#include <zephyr/kernel.h>
#include <zephyr/drivers/gpio.h>
#include <zephyr/logging/log.h>
#include <zephyr/sys/atomic.h>
#include <canopennode.h>

#include "sensor.h"
#include "pressure_measurement.h"
#include "ultrasonic_measurement.h"
#include "temperature_measurement.h"

LOG_MODULE_REGISTER(sensor, CONFIG_CANOPENNODE_LOG_LEVEL);

#define SENSOR_STACK_SIZE 1024
#define SENSOR_THREAD_PRIORITY K_LOWEST_APPLICATION_THREAD_PRIO

enum sensor_index {
	PRESSURE,
	ULTRASONIC,
	TEMPERATURE,
	SENSOR_COUNT,
};

struct sensor_control {
	struct gpio_dt_spec power;
	int (*init)(void);
	int (*read)(void);
	atomic_t enabled;
	struct k_mutex lock;
	bool ready;
};

static bool locks_initialized;

static struct sensor_control sensors[] = {
	[PRESSURE] = {
		.power = GPIO_DT_SPEC_GET(DT_NODELABEL(pressure_sw), gpios),
		.init = pressure_measurement_init,
		.read = pressure_measurement_read,
	},
	[ULTRASONIC] = {
		.power = GPIO_DT_SPEC_GET(DT_NODELABEL(ultrasonic_sw), gpios),
		.init = ultrasonic_measurement_init,
		.read = ultrasonic_measurement_read,
	},
	[TEMPERATURE] = {
		.power = GPIO_DT_SPEC_GET(DT_NODELABEL(temperature_sw), gpios),
		.init = temperature_measurement_init,
		.read = temperature_measurement_read,
	},
};

K_THREAD_STACK_ARRAY_DEFINE(sensor_stacks, SENSOR_COUNT, SENSOR_STACK_SIZE);
static struct k_thread sensor_threads[SENSOR_COUNT];
static bool threads_started;

static void sensor_thread(void *arg, void *unused1, void *unused2)
{
	struct sensor_control *sensor = arg;

	ARG_UNUSED(unused1);
	ARG_UNUSED(unused2);
	while (true) {
		uint32_t period = 100U;

		k_mutex_lock(&sensor->lock, K_FOREVER);
		if (atomic_get(&sensor->enabled)) {
			(void)sensor->read();
			if (sensor == &sensors[PRESSURE]) {
				period = OD_pressurePeriode;
			} else if (sensor == &sensors[ULTRASONIC]) {
				period = OD_ultrasonicPeriode;
			} else {
				period = OD_temperaturePeriode;
			}
		}
		k_mutex_unlock(&sensor->lock);
		k_sleep(K_MSEC(MAX(period, 1U)));
	}
}
int sensor_init(void)
{
	int result = 0;

	if (!locks_initialized) {
		for (size_t i = 0; i < ARRAY_SIZE(sensors); i++) {
			k_mutex_init(&sensors[i].lock);
		}
		locks_initialized = true;
	}
	for (size_t i = 0; i < ARRAY_SIZE(sensors); i++) {
		struct sensor_control *sensor = &sensors[i];
		int ret;

		if (!gpio_is_ready_dt(&sensor->power)) {
			result = -ENODEV;
			continue;
		}
		ret = gpio_pin_configure_dt(&sensor->power, GPIO_OUTPUT_INACTIVE);
		if (ret == 0) {
			ret = sensor->init();
		}
		sensor->ready = (ret == 0);
		if (ret != 0) {
			LOG_ERR("Sensor %u initialization failed: %d", (unsigned int)i, ret);
			result = ret;
		}
	}
	if (!threads_started) {
		for (size_t i = 0; i < ARRAY_SIZE(sensors); i++) {
			k_thread_create(&sensor_threads[i], sensor_stacks[i],
					K_THREAD_STACK_SIZEOF(sensor_stacks[i]),
					sensor_thread, &sensors[i], NULL, NULL,
					SENSOR_THREAD_PRIORITY, 0, K_NO_WAIT);
		}
		threads_started = true;
	}
	return result;
}

static int sensor_set_enabled(enum sensor_index index, uint8_t value)
{
	struct sensor_control *sensor = &sensors[index];
	int ret;

	if (!sensor->ready) {
		return -ENODEV;
	}
	ret = gpio_pin_set_dt(&sensor->power, value != 0U);
	if (ret == 0) {
		atomic_set(&sensor->enabled, value != 0U);
	}
	return ret;
}

int pressure_enable(uint8_t value)
{
	return sensor_set_enabled(PRESSURE, value);
}

int ultrasonic_enable(uint8_t value)
{
	return sensor_set_enabled(ULTRASONIC, value);
}

int temperature_enable(uint8_t value)
{
	return sensor_set_enabled(TEMPERATURE, value);
}

void sensor_stop(void)
{
	/* Drain in-flight reads before CANopen reinitializes the object dictionary. */
	for (size_t i = 0; i < ARRAY_SIZE(sensors); i++) {
		k_mutex_lock(&sensors[i].lock, K_FOREVER);
		atomic_clear(&sensors[i].enabled);
		k_mutex_unlock(&sensors[i].lock);
	}
}

void sensor_process(void)
{
	/* Sensor reads run on dedicated workers and must not block CANopen. */
}
```

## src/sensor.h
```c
#ifndef SENSOR_H
#define SENSOR_H

#include <stdint.h>

int sensor_init(void);
int pressure_enable(uint8_t value);
int ultrasonic_enable(uint8_t value);
int temperature_enable(uint8_t value);
void sensor_process(void);
void sensor_stop(void);

#endif /* SENSOR_H */
```

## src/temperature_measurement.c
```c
#include <zephyr/drivers/sensor.h>
#include <zephyr/drivers/sensor/w1_sensor.h>
#include <zephyr/logging/log.h>
#include <zephyr/kernel.h>
#include <zephyr/sys/util.h>
#include <canopennode.h>

#include "temperature_measurement.h"

LOG_MODULE_REGISTER(temperature_measurement, CONFIG_CANOPENNODE_LOG_LEVEL);

static const struct device *const sensors[] = {
	DEVICE_DT_GET(DT_NODELABEL(temp_0)),
	DEVICE_DT_GET(DT_NODELABEL(temp_1)),
};

#define TEMPERATURE_SENSOR_COUNT ARRAY_SIZE(sensors)
#define W1_SEARCH_ATTEMPTS 3
static uint64_t assigned_rom_ids[TEMPERATURE_SENSOR_COUNT];

struct temperature_discovery {
	uint64_t rom_addresses[TEMPERATURE_SENSOR_COUNT];
	size_t count;
};

static void temperature_search_callback(struct w1_rom rom, void *user_data)
{
	struct temperature_discovery *discovery = user_data;
	uint64_t rom_id = w1_rom_to_uint64(&rom);

	if (rom.family != 0x28) {
		LOG_DBG("Ignoring 1-Wire device with family code 0x%02x", rom.family);
		return;
	}
	if (discovery->count >= ARRAY_SIZE(discovery->rom_addresses)) {
		LOG_WRN("More DS18B20 sensors found than supported; ignoring 0x%016llx",
			(unsigned long long)rom_id);
		return;
	}

	discovery->rom_addresses[discovery->count++] = rom_id;
	LOG_INF("Found DS18B20 sensor %u: 0x%016llx",
		(unsigned int)discovery->count, (unsigned long long)rom_id);
}

static int temperature_set_rom(size_t slot, uint64_t rom_id)
{
	struct w1_rom rom;
	struct sensor_value address;

	w1_uint64_to_rom(rom_id, &rom);
	w1_rom_to_sensor_value(&rom, &address);
	int ret = sensor_attr_set(sensors[slot], SENSOR_CHAN_ALL,
				  SENSOR_ATTR_W1_ROM, &address);

	if (ret == 0) {
		assigned_rom_ids[slot] = rom_id;
	}
	return ret;
}

static int temperature_assign_rom(size_t slot, uint64_t rom_id)
{
	int ret = temperature_set_rom(slot, rom_id);

	if (ret != 0) {
		return ret;
	}
	for (int attempt = 0; attempt < W1_SEARCH_ATTEMPTS; attempt++) {
		struct sensor_value temperature;

		ret = sensor_sample_fetch(sensors[slot]);
		if (ret == 0) {
			ret = sensor_channel_get(sensors[slot],
						 SENSOR_CHAN_AMBIENT_TEMP,
						 &temperature);
		}
		if (ret == 0) {
			return 0;
		}
		if (attempt + 1 < W1_SEARCH_ATTEMPTS) {
			k_sleep(K_MSEC(100));
		}
	}
	return ret;
}

static bool temperature_id_is_assigned(const uint64_t *ids, uint64_t rom_id)
{
	for (size_t i = 0; i < TEMPERATURE_SENSOR_COUNT; i++) {
		if (ids[i] == rom_id) {
			return true;
		}
	}
	return false;
}

static int temperature_discover_sensors(void)
{
	const struct device *w1_dev = DEVICE_DT_GET(DT_NODELABEL(w1_0));
	struct temperature_discovery discovery = {0};
	uint64_t configured_ids[TEMPERATURE_SENSOR_COUNT];
	uint64_t active_ids[TEMPERATURE_SENSOR_COUNT] = {0};

	if (!device_is_ready(w1_dev)) {
		LOG_ERR("1-Wire bus is not ready");
		return -ENODEV;
	}

	CO_LOCK_OD();
	for (size_t i = 0; i < TEMPERATURE_SENSOR_COUNT; i++) {
		configured_ids[i] = OD_temperatureDS18B20ID[i];
	}
	CO_UNLOCK_OD();

	/* Reuse responding configured sensors in their existing water/air slots. */
	for (size_t i = 0; i < TEMPERATURE_SENSOR_COUNT; i++) {
		if (configured_ids[i] == 0U ||
		    temperature_id_is_assigned(active_ids, configured_ids[i])) {
			continue;
		}
		if (temperature_assign_rom(i, configured_ids[i]) == 0) {
			active_ids[i] = configured_ids[i];
			LOG_INF("Using configured DS18B20 in slot %u: 0x%016llx",
				(unsigned int)i,
				(unsigned long long)configured_ids[i]);
		} else {
			LOG_WRN("Configured DS18B20 in slot %u did not respond after %d tries; clearing ID",
				(unsigned int)i, W1_SEARCH_ATTEMPTS);
		}
	}

	if (active_ids[0] != 0U && active_ids[1] != 0U) {
		LOG_INF("Both configured DS18B20 sensors responded; skipping discovery");
		return 0;
	}

	LOG_INF("Searching for unassigned DS18B20 sensors");
	(void)w1_search_rom(w1_dev, temperature_search_callback, &discovery);
	for (size_t n = 0; n < discovery.count; n++) {
		uint64_t rom_id = discovery.rom_addresses[n];
		size_t slot;

		if (temperature_id_is_assigned(active_ids, rom_id)) {
			continue;
		}
		for (slot = 0; slot < TEMPERATURE_SENSOR_COUNT; slot++) {
			if (active_ids[slot] == 0U) {
				break;
			}
		}
		if (slot == TEMPERATURE_SENSOR_COUNT) {
			break;
		}
		if (temperature_assign_rom(slot, rom_id) == 0) {
			active_ids[slot] = rom_id;
			LOG_INF("Assigned new DS18B20 to slot %u: 0x%016llx",
				(unsigned int)slot, (unsigned long long)rom_id);
		} else {
			LOG_WRN("Discovered DS18B20 did not respond in slot %u: 0x%016llx",
				(unsigned int)slot, (unsigned long long)rom_id);
		}
	}

	CO_LOCK_OD();
	for (size_t i = 0; i < TEMPERATURE_SENSOR_COUNT; i++) {
		OD_temperatureDS18B20ID[i] = active_ids[i];
	}
	CO_UNLOCK_OD();
	return (active_ids[0] != 0U || active_ids[1] != 0U) ? 0 : -ENODEV;
}

int temperature_measurement_init(void)
{
	int ret = 0;

	for (size_t i = 0; i < ARRAY_SIZE(sensors); i++) {
		if (!device_is_ready(sensors[i])) {
			LOG_ERR("Temperature sensor %u not ready", (unsigned int)i);
			ret = -ENODEV;
		}
	}
	if (ret == 0) {
		ret = temperature_discover_sensors();
	}
	return ret;
}

int temperature_measurement_read(void)
{
	int result = 0;

	for (size_t i = 0; i < ARRAY_SIZE(sensors); i++) {
		struct sensor_value temperature;
		uint64_t configured_id;
		int ret;

		if (!device_is_ready(sensors[i])) {
			result = -ENODEV;
			continue;
		}
		CO_LOCK_OD();
		configured_id = OD_temperatureDS18B20ID[i];
		CO_UNLOCK_OD();
		if (configured_id != 0U && configured_id != assigned_rom_ids[i] &&
		    temperature_set_rom(i, configured_id) != 0) {
			result = -EINVAL;
			continue;
		}
		ret = sensor_sample_fetch(sensors[i]);
		if (ret == 0) {
			ret = sensor_channel_get(sensors[i], SENSOR_CHAN_AMBIENT_TEMP,
						 &temperature);
		}
		if (ret != 0) {
			LOG_ERR("Could not read temperature sensor %u: %d",
				(unsigned int)i, ret);
			result = ret;
			continue;
		}
		float temperature_c =
			(float)temperature.val1 + (float)temperature.val2 / 1000000.0f;
		CO_LOCK_OD();
		OD_temperatureRaw[i] =
			(int16_t)(temperature.val1 * 1000 + temperature.val2 / 1000);
		OD_temperatureMeasurement[i] = temperature_c;
		CO_UNLOCK_OD();
	}
	return result;
}
```

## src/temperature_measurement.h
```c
#ifndef TEMPERATURE_MEASUREMENT_H
#define TEMPERATURE_MEASUREMENT_H

int temperature_measurement_init(void);
int temperature_measurement_read(void);

#endif /* TEMPERATURE_MEASUREMENT_H */
```
